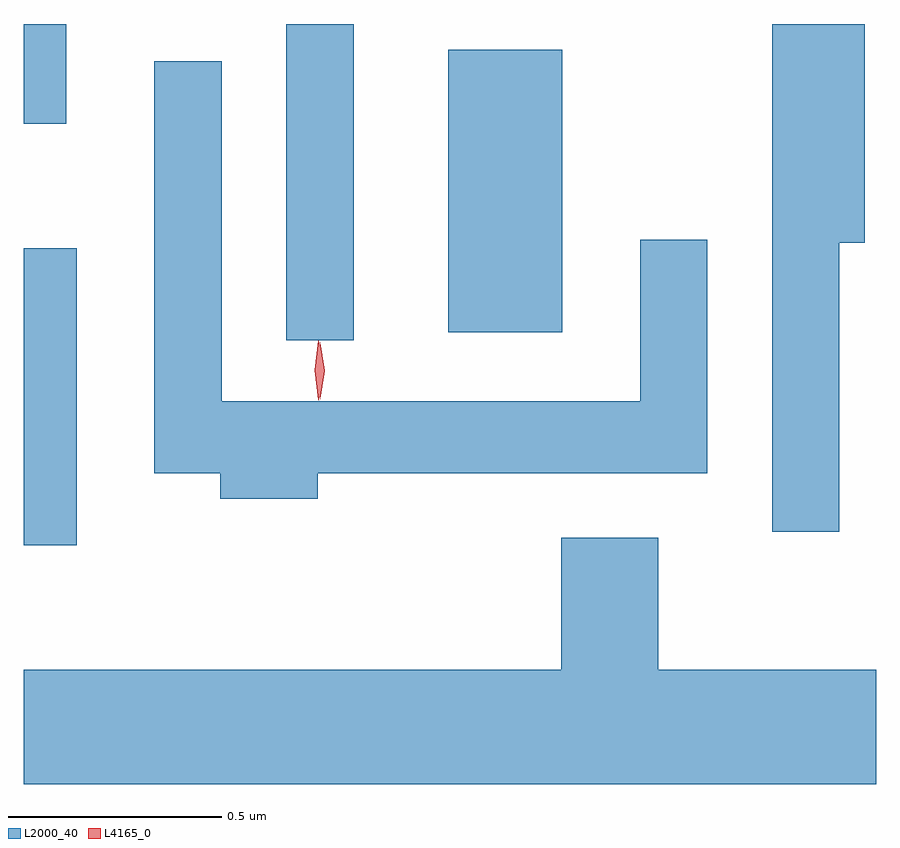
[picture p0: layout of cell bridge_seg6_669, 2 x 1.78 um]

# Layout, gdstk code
import gdstk
lib = gdstk.Library(unit=1e-6, precision=1e-09)
def R(c, l, rs):  # rectangles x0, y0, x1, y1
    for r in rs: c.add(gdstk.rectangle(r[:2], r[2:], *l))
def P(c, l, *ps):  # polygons
    for p in ps: c.add(gdstk.Polygon(p, *l))
L2000_40 = (2000, 40)
L4165_0 = (4165, 0)

bridge_seg6_669 = lib.new_cell('bridge_seg6_669')
R(bridge_seg6_669, L2000_40, [(310.46,1650.496,310.584,1651.194), (311.076,1650.978,311.234,1651.72), (311.456,1650.996,311.724,1651.659), (310.46,1651.486,310.559,1651.72)])
P(bridge_seg6_669, L2000_40, [(312.374,1651.206),(312.434,1651.206),(312.434,1651.72),(312.216,1651.72),(312.216,1650.528),(312.374,1650.528)],
  [(311.149,1650.666),(312.064,1650.666),(312.064,1651.213),(311.906,1651.213),(311.906,1650.834),(310.924,1650.834),(310.924,1651.633),(310.766,1651.633),(310.766,1650.666),(310.921,1650.666),(310.921,1650.606),(311.149,1650.606)],
  [(312.46,1650.204),(311.949,1650.204),(311.949,1650.514),(311.721,1650.514),(311.721,1650.204),(310.46,1650.204),(310.46,1649.936),(312.46,1649.936)])
P(bridge_seg6_669, L4165_0, [(311.152,1650.837),(311.151,1650.838),(311.142,1650.907),(311.151,1650.976),(311.152,1650.976),(311.152,1650.976),(311.162,1650.907),(311.152,1650.838)],
  [(311.156,1650.839),(311.155,1650.84),(311.146,1650.906),(311.155,1650.972),(311.156,1650.973),(311.156,1650.972),(311.166,1650.906),(311.156,1650.84)])

lib.write_gds('bridge_seg6_669.gds')
